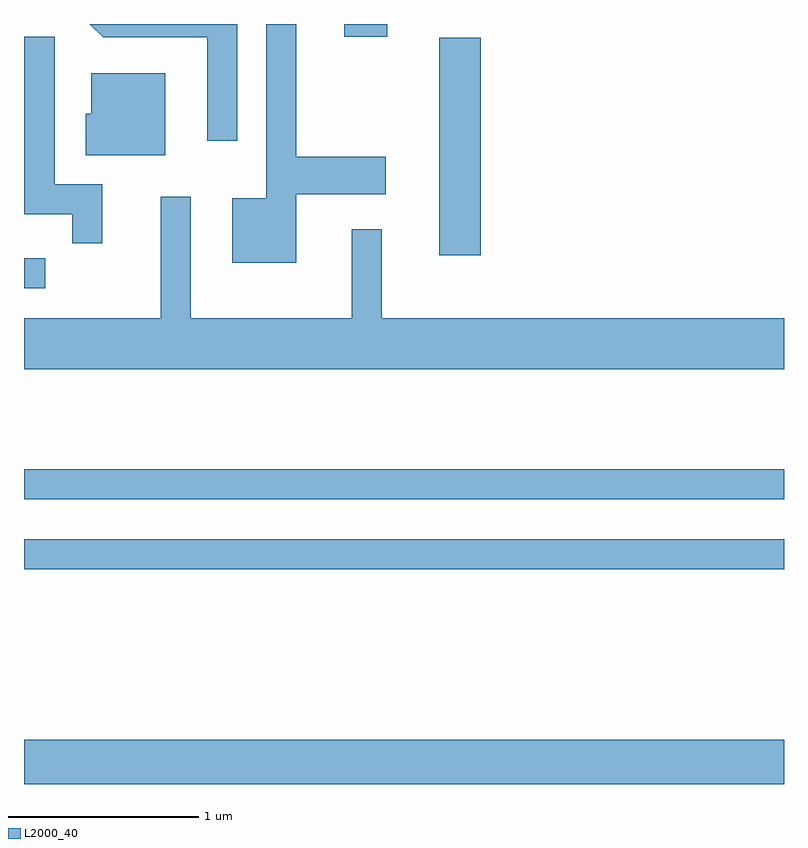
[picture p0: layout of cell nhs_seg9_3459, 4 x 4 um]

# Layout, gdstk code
import gdstk
lib = gdstk.Library(unit=1e-6, precision=1e-09)
def R(c, l, rs):  # rectangles x0, y0, x1, y1
    for r in rs: c.add(gdstk.rectangle(r[:2], r[2:], *l))
def P(c, l, *ps):  # polygons
    for p in ps: c.add(gdstk.Polygon(p, *l))
L2000_40 = (2000, 40)

nhs_seg9_3459 = lib.new_cell('nhs_seg9_3459')
R(nhs_seg9_3459, L2000_40, [(285.611,2078.432,289.611,2078.664), (285.611,2079.561,289.611,2079.719), (285.611,2079.931,289.611,2080.089), (285.611,2081.041,285.723,2081.199), (287.796,2081.216,288.014,2082.359), (287.296,2082.366,287.524,2082.432)])
P(nhs_seg9_3459, L2000_40, [(286.734,2082.432),(285.958,2082.432),(286.029,2082.361),(286.576,2082.361),(286.576,2081.818),(286.734,2081.818)],
  [(287.044,2081.536),(287.514,2081.536),(287.514,2081.734),(287.044,2081.734),(287.044,2082.432),(286.886,2082.432),(286.886,2081.514),(286.706,2081.514),(286.706,2081.176),(287.044,2081.176)],
  [(286.024,2081.589),(285.774,2081.589),(285.774,2082.364),(285.611,2082.364),(285.611,2081.431),(285.866,2081.431),(285.866,2081.278),(286.024,2081.278)],
  [(286.354,2082.174),(285.966,2082.174),(285.966,2081.959),(285.936,2081.959),(285.936,2081.741),(286.354,2081.741)],
  [(289.611,2080.884),(287.494,2080.884),(287.494,2081.353),(287.336,2081.353),(287.336,2080.884),(286.489,2080.884),(286.489,2081.523),(286.331,2081.523),(286.331,2080.884),(285.611,2080.884),(285.611,2080.616),(289.611,2080.616)])

lib.write_gds('nhs_seg9_3459.gds')
